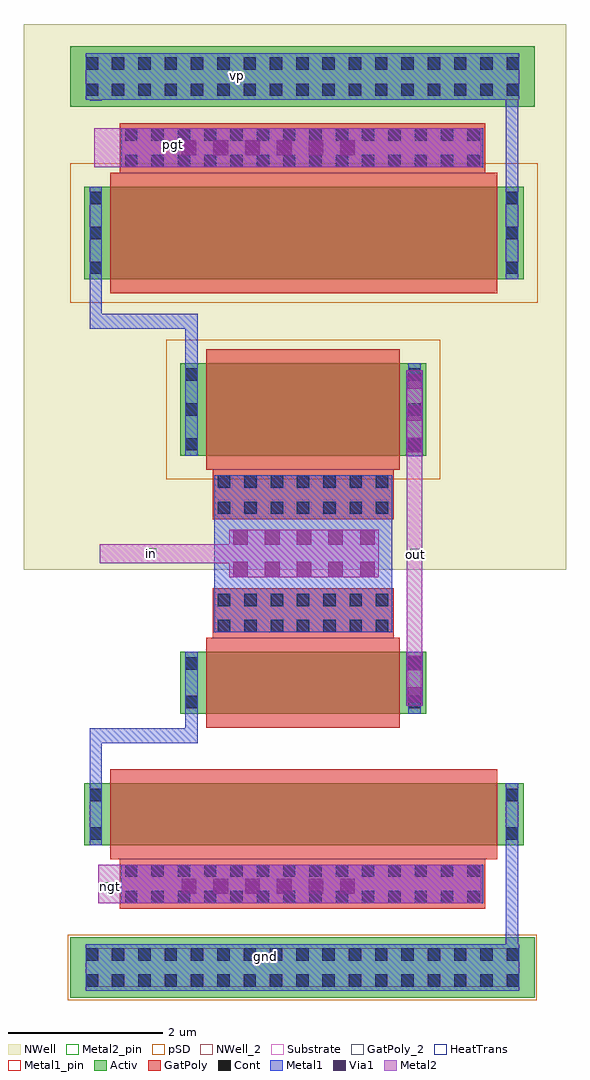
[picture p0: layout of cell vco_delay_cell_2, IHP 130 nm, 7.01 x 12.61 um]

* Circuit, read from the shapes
.subckt vco_delay_cell_2 gnd in ngt out pgt vp
XM1 gnd ngt n1 gnd sg13_lv_nmos w=0.8u l=5u
XM2 out in n1 gnd sg13_lv_nmos w=0.8u l=2.5u
XM3 vp pgt n2 vp sg13_lv_pmos w=1.2u l=5u
XM4 out in n2 vp sg13_lv_pmos w=1.2u l=2.5u
.ends

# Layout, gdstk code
from math import pi, radians
import gdstk
lib = gdstk.Library(unit=1e-6, precision=1e-09)
def R(c, l, rs):  # rectangles x0, y0, x1, y1
    for r in rs: c.add(gdstk.rectangle(r[:2], r[2:], *l))
def A(c, l, x, y, w, h, nx, ny, dx, dy):  # array of equal rectangles
    R(c, l, [(x+i*dx, y+j*dy, x+i*dx+w, y+j*dy+h) for i in range(nx) for j in range(ny)])
Activ = (1, 0)
GatPoly = (5, 0)
GatPoly_2 = (5, 2)
Cont = (6, 0)
Metal1 = (8, 0)
Metal1_pin = (8, 2)
Metal2 = (10, 0)
Metal2_pin = (10, 2)
pSD = (14, 0)
Via1 = (19, 0)
NWell = (31, 0)
NWell_2 = (31, 2)
Substrate = (40, 0)
HeatTrans = (51, 0)

via_15 = lib.new_cell('Via$15')
R(via_15, GatPoly, [(-2.36,-0.32,2.36,0.32)])
A(via_15, Cont, -2.29, -0.25, 0.16, 0.16, 14, 2, 0.34, 0.34)
R(via_15, Metal1, [(-2.34,-0.25,2.34,0.25)])

via_7 = lib.new_cell('Via$7')
R(via_7, Metal1, [(-0.555,-0.105,0.555,0.105)])
R(via_7, Metal2, [(-0.555,-0.1,0.555,0.1)])
A(via_7, Via1, -0.505, -0.095, 0.19, 0.19, 3, 1, 0.41, 0)

ptap1_3 = lib.new_cell('ptap1$3')
R(ptap1_3, Activ, [(0,0,6,0.78)])
A(ptap1_3, Cont, 0.2, 0.14, 0.16, 0.16, 17, 2, 0.34, 0.34)
R(ptap1_3, Metal1, [(0.2,0.09,5.8,0.69), (0.2,0.14,5.8,0.64)])
R(ptap1_3, Metal1_pin, [(0.2,0.14,5.8,0.64)])
R(ptap1_3, pSD, [(-0.03,-0.03,6.03,0.81)])
R(ptap1_3, Substrate, [(0,0,6,0.78)])
ptap1_3.add(gdstk.Label('sub!', (3,0.01), layer=63, texttype=0))
ptap1_3.add(gdstk.Label('sub!', (3,0.01), layer=40, texttype=0))

pmos_5 = lib.new_cell('pmos$5')
R(pmos_5, Activ, [(0,0,0.3,0.3), (0,0,3.18,1.2), (2.88,0,3.18,0.3)])
R(pmos_5, GatPoly, [(0.34,-0.18,2.84,1.38), (0.34,-0.18,2.84,1.38)])
A(pmos_5, Cont, 0.07, 0.07, 0.16, 0.16, 1, 3, 0, 0.45)
A(pmos_5, Cont, 2.95, 0.07, 0.16, 0.16, 1, 3, 0, 0.45)
R(pmos_5, Metal1, [(0.07,0,0.23,1.2), (0.07,0,0.23,1.2), (2.95,0,3.11,1.2), (2.95,0,3.11,1.2)])
R(pmos_5, pSD, [(-0.18,-0.3,3.36,1.5)])
R(pmos_5, NWell, [(-0.31,-0.31,3.49,1.51)])
R(pmos_5, HeatTrans, [(0.34,-0.18,2.84,1.38)])
pmos_5.add(gdstk.Label('pmos', (1.59,0.6), layer=63, texttype=0))
pmos_5.add(gdstk.Label('pmos', (1.59,0.6), layer=51, texttype=0))

via_12 = lib.new_cell('Via$12')
R(via_12, GatPoly, [(-1.17,-0.32,1.17,0.32)])
A(via_12, Cont, -1.1, -0.25, 0.16, 0.16, 7, 2, 0.34, 0.34)
R(via_12, Metal1, [(-1.15,-0.25,1.15,0.25)])

ntap1_3 = lib.new_cell('ntap1$3')
R(ntap1_3, Activ, [(0,0,6,0.78)])
A(ntap1_3, Cont, 0.2, 0.14, 0.16, 0.16, 17, 2, 0.34, 0.34)
R(ntap1_3, Metal1, [(0.2,0.09,5.8,0.69)])
R(ntap1_3, Metal1_pin, [(0.2,0.09,5.8,0.69), (0.2,0.14,5.8,0.64)])
R(ntap1_3, NWell, [(-0.24,-0.24,6.24,1.02), (0,0,6,0.78)])
R(ntap1_3, NWell_2, [(0,0,6,0.78)])
ntap1_3.add(gdstk.Label('well', (3,0.01), layer=31, texttype=0))
ntap1_3.add(gdstk.Label('well', (3,0.01), layer=63, texttype=0))

via_8 = lib.new_cell('Via$8')
R(via_8, Metal1, [(-0.965,-0.31,0.965,0.31)])
R(via_8, Metal2, [(-0.965,-0.305,0.965,0.305)])
A(via_8, Via1, -0.915, -0.3, 0.19, 0.19, 5, 2, 0.41, 0.41)

nmos_4 = lib.new_cell('nmos$4')
R(nmos_4, Activ, [(0,0,0.3,0.3), (0,0,5.68,0.8), (5.38,0,5.68,0.3)])
R(nmos_4, GatPoly, [(0.34,-0.18,5.34,0.98)])
R(nmos_4, GatPoly_2, [(0.34,-0.18,5.34,0.98)])
R(nmos_4, Cont, [(0.07,0.07,0.23,0.23), (5.45,0.07,5.61,0.23), (0.07,0.57,0.23,0.73), (5.45,0.57,5.61,0.73)])
R(nmos_4, Metal1, [(0.07,0,0.23,0.8), (5.45,0,5.61,0.8)])
R(nmos_4, Metal1_pin, [(0.07,0,0.23,0.8), (5.45,0,5.61,0.8)])
R(nmos_4, HeatTrans, [(0.34,-0.18,5.34,0.98)])
nmos_4.add(gdstk.Label('nmos', (2.84,0.4), layer=63, texttype=0))
nmos_4.add(gdstk.Label('nmos', (2.84,0.4), layer=51, texttype=0))

pmos_4 = lib.new_cell('pmos$4')
R(pmos_4, Activ, [(0,0,0.3,0.3), (0,0,5.68,1.2), (5.38,0,5.68,0.3)])
R(pmos_4, GatPoly, [(0.34,-0.18,5.34,1.38), (0.34,-0.18,5.34,1.38)])
A(pmos_4, Cont, 0.07, 0.07, 0.16, 0.16, 1, 3, 0, 0.45)
A(pmos_4, Cont, 5.45, 0.07, 0.16, 0.16, 1, 3, 0, 0.45)
R(pmos_4, Metal1, [(0.07,0,0.23,1.2), (0.07,0,0.23,1.2), (5.45,0,5.61,1.2), (5.45,0,5.61,1.2)])
R(pmos_4, pSD, [(-0.18,-0.3,5.86,1.5)])
R(pmos_4, NWell, [(-0.31,-0.31,5.99,1.51)])
R(pmos_4, HeatTrans, [(0.34,-0.18,5.34,1.38)])
pmos_4.add(gdstk.Label('pmos', (2.84,0.6), layer=63, texttype=0))
pmos_4.add(gdstk.Label('pmos', (2.84,0.6), layer=51, texttype=0))

via_11 = lib.new_cell('Via$11')
R(via_11, Metal1, [(-0.35,-0.105,0.35,0.105)])
R(via_11, Metal2, [(-0.35,-0.1,0.35,0.1)])
R(via_11, Via1, [(-0.3,-0.095,-0.11,0.095), (0.11,-0.095,0.3,0.095)])

nmos_2 = lib.new_cell('nmos$2')
R(nmos_2, Activ, [(0,0,0.3,0.3), (0,0,3.18,0.8), (2.88,0,3.18,0.3)])
R(nmos_2, GatPoly, [(0.34,-0.18,2.84,0.98)])
R(nmos_2, GatPoly_2, [(0.34,-0.18,2.84,0.98)])
R(nmos_2, Cont, [(0.07,0.07,0.23,0.23), (2.95,0.07,3.11,0.23), (0.07,0.57,0.23,0.73), (2.95,0.57,3.11,0.73)])
R(nmos_2, Metal1, [(0.07,0,0.23,0.8), (2.95,0,3.11,0.8)])
R(nmos_2, Metal1_pin, [(0.07,0,0.23,0.8), (2.95,0,3.11,0.8)])
R(nmos_2, HeatTrans, [(0.34,-0.18,2.84,0.98)])
nmos_2.add(gdstk.Label('nmos', (1.59,0.4), layer=63, texttype=0))
nmos_2.add(gdstk.Label('nmos', (1.59,0.4), layer=51, texttype=0))

via_14 = lib.new_cell('Via$14')
R(via_14, Metal1, [(-1.17,-0.105,1.17,0.105)])
R(via_14, Metal2, [(-1.17,-0.1,1.17,0.1)])
A(via_14, Via1, -1.12, -0.095, 0.19, 0.19, 6, 1, 0.41, 0)

vco_delay_cell_2 = lib.new_cell('vco_delay_cell_2')
R(vco_delay_cell_2, Metal1, [(3.87,-4.85,4.03,-3.55), (0.02,-4.32,0.14,-3.82), (0.14,-4.32,0.48,-3.82), (-1.51,-2.77,-1.35,-2.195), (-1.51,-2.25,-0.11,-2.06), (-0.27,-2.25,-0.11,-1.87), (0.1,-0.82,2.4,1.21), (-0.27,2.13,-0.11,3.16), (-1.51,3.105,-1.35,3.97), (-1.51,3.105,-0.11,3.295), (3.87,4.71,4.03,6.27), (-1.51,6.05,-1.35,6.29)])
R(vco_delay_cell_2, Metal1_pin, [(0.705,-5.08,0.835,-4.95), (0.335,6.315,0.465,6.445)])
R(vco_delay_cell_2, Metal2, [(-1.4,-4.32,-0.51,-3.82), (-0.52,-4.32,3.55,-3.82), (2.59,-1.76,2.79,0.57), (2.59,-0.16,2.79,1.48), (-1.38,0.07,0.95,0.32), (-1.45,5.19,3.55,5.69)])
R(vco_delay_cell_2, Metal2_pin, [(-1.31,-4.18,-1.18,-4.05), (2.635,0.13,2.765,0.26), (-0.775,0.135,-0.645,0.265), (-0.495,5.41,-0.365,5.54)])
R(vco_delay_cell_2, NWell, [(-2.36,-0.01,4.65,0.3), (-1.56,0.29,2.98,5.31), (-2.36,0.3,4.65,7.04)])
vco_delay_cell_2.add(gdstk.Reference(via_15, (1.24,5.44)))
vco_delay_cell_2.add(gdstk.Reference(via_7, (2.69,2.01), rotation=pi/2))
vco_delay_cell_2.add(gdstk.Reference(ptap1_3, (-1.76,-5.54)))
vco_delay_cell_2.add(gdstk.Reference(pmos_5, (-0.34,1.46)))
vco_delay_cell_2.add(gdstk.Reference(via_15, (1.24,-4.07)))
vco_delay_cell_2.add(gdstk.Reference(via_12, (1.25,0.96)))
vco_delay_cell_2.add(gdstk.Reference(ntap1_3, (-1.76,5.97)))
vco_delay_cell_2.add(gdstk.Reference(via_12, (1.25,-0.57)))
vco_delay_cell_2.add(gdstk.Reference(via_8, (1.26,0.2)))
vco_delay_cell_2.add(gdstk.Reference(nmos_4, (-1.58,-3.57)))
vco_delay_cell_2.add(gdstk.Reference(pmos_4, (-1.58,3.74)))
vco_delay_cell_2.add(gdstk.Reference(via_11, (2.69,-1.42), rotation=pi/2))
vco_delay_cell_2.add(gdstk.Reference(nmos_2, (-0.34,-1.87)))
vco_delay_cell_2.add(gdstk.Reference(via_14, (0.8,-4.1)))
vco_delay_cell_2.add(gdstk.Reference(via_14, (0.8,5.44)))
vco_delay_cell_2.add(gdstk.Label('in', (-0.71,0.2), layer=10, texttype=25))
vco_delay_cell_2.add(gdstk.Label('out', (2.7,0.18), layer=10, texttype=25))
vco_delay_cell_2.add(gdstk.Label('ngt', (-1.24,-4.11), layer=10, texttype=25))
vco_delay_cell_2.add(gdstk.Label('pgt', (-0.43,5.48), layer=10, texttype=25))
vco_delay_cell_2.add(gdstk.Label('gnd', (0.77,-5.01), layer=8, texttype=25))
vco_delay_cell_2.add(gdstk.Label('vp', (0.4,6.38), layer=8, texttype=25))

lib.write_gds('vco_delay_cell_2.gds')
